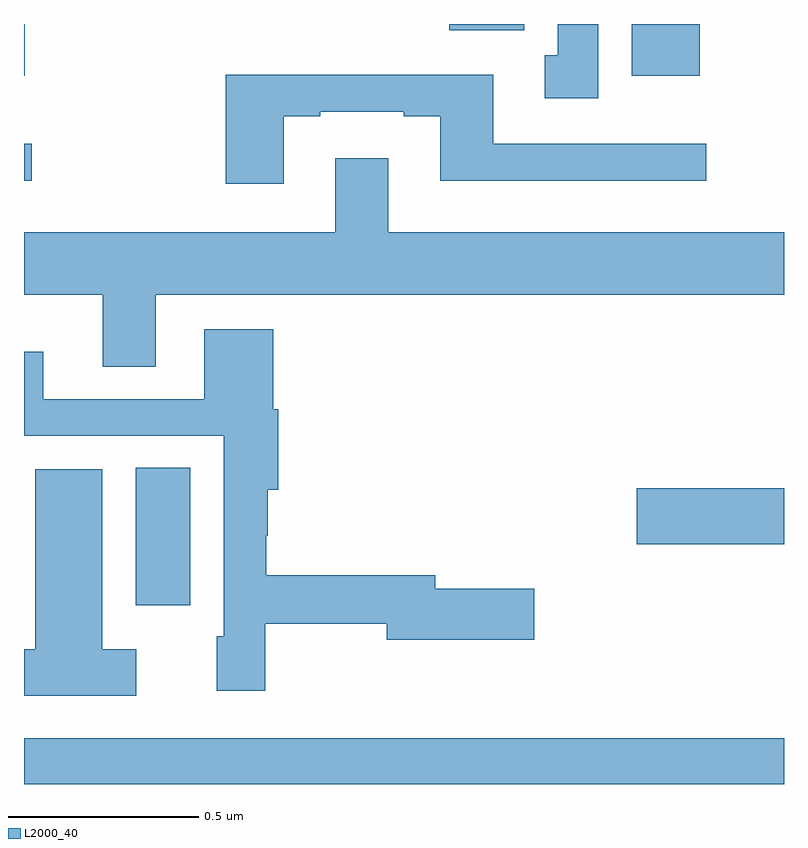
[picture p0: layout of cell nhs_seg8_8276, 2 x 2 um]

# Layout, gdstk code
import gdstk
lib = gdstk.Library(unit=1e-6, precision=1e-09)
def R(c, l, rs):  # rectangles x0, y0, x1, y1
    for r in rs: c.add(gdstk.rectangle(r[:2], r[2:], *l))
def P(c, l, *ps):  # polygons
    for p in ps: c.add(gdstk.Polygon(p, *l))
L2000_40 = (2000, 40)

nhs_seg8_8276 = lib.new_cell('nhs_seg8_8276')
R(nhs_seg8_8276, L2000_40, [(221,1093.9,223,1094.02), (221.294,1094.37,221.437,1094.732), (222.612,1094.531,223,1094.678), (221,1095.488,221.02,1095.585), (221,1095.764,221.002,1095.9), (222.599,1095.764,222.778,1095.9), (222.119,1095.884,222.316,1095.9)])
P(nhs_seg8_8276, L2000_40, [(222.511,1095.9),(222.404,1095.9),(222.404,1095.818),(222.371,1095.818),(222.371,1095.705),(222.511,1095.705)],
  [(221.683,1095.657),(221.779,1095.657),(221.779,1095.669),(221.999,1095.669),(221.999,1095.657),(222.095,1095.657),(222.095,1095.488),(222.796,1095.488),(222.796,1095.585),(222.235,1095.585),(222.235,1095.766),(221.531,1095.766),(221.531,1095.48),(221.683,1095.48)],
  [(221.347,1095.188),(223,1095.188),(223,1095.352),(221.959,1095.352),(221.959,1095.547),(221.819,1095.547),(221.819,1095.352),(221,1095.352),(221,1095.188),(221.207,1095.188),(221.207,1094.998),(221.347,1094.998)],
  [(221.635,1094.322),(221.954,1094.322),(221.954,1094.279),(222.343,1094.279),(222.343,1094.414),(222.082,1094.414),(222.082,1094.45),(221.638,1094.45),(221.638,1094.553),(221.642,1094.553),(221.642,1094.675),(221.669,1094.675),(221.669,1094.886),(221.656,1094.886),(221.656,1095.097),(221.474,1095.097),(221.474,1094.913),(221.05,1094.913),(221.05,1095.037),(221,1095.037),(221,1094.817),(221.526,1094.817),(221.526,1094.289),(221.507,1094.289),(221.507,1094.145),(221.635,1094.145)],
  [(221.296,1094.254),(221.206,1094.254),(221.206,1094.728),(221.03,1094.728),(221.03,1094.254),(221,1094.254),(221,1094.132),(221.296,1094.132)])

lib.write_gds('nhs_seg8_8276.gds')
